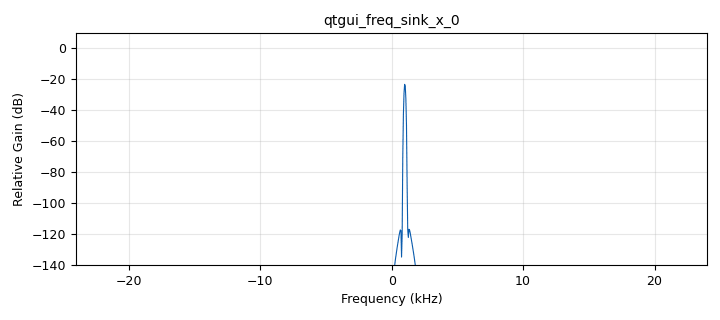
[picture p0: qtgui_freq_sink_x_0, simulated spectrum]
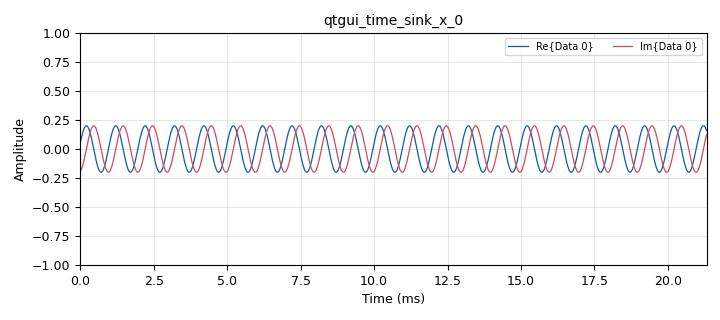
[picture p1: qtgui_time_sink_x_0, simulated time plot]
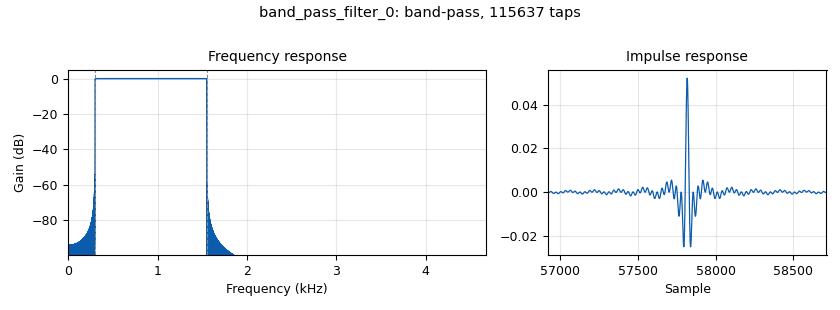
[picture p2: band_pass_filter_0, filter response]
options:
  parameters:
    author: daniel
    generate_options: qt_gui
    id: ssb_tester
    output_language: python
    title: Einseitenbandtester
  states: {}

blocks:
- name: amp
  id: variable_qtgui_range
  parameters:
    label: Amplitude
    start: '0'
    step: '0.01'
    stop: '10'
    value: '0.2'
    widget: eng_slider
  states: {}
- name: bandwidth
  id: variable_qtgui_range
  parameters:
    label: Bandbreite
    start: '0'
    step: '1'
    stop: 10e3
    value: 1.25e3
    widget: eng_slider
  states: {}
- name: out_freq
  id: variable_qtgui_range
  parameters:
    label: Ausgangsfrequenz
    start: 1e6
    step: 100e3
    stop: 500e6
    value: 433.05e6
  states: {}
- name: samp_rate
  id: variable
  parameters:
    value: 1e6
  states: {}
- name: ssb
  id: variable_qtgui_chooser
  parameters:
    label: Seitenband
    label0: USB
    label1: LSB
    num_opts: '2'
    option0: '0'
    option1: '1'
    type: int
    value: '0'
  states: {}
- name: ton_freq
  id: variable_qtgui_range
  parameters:
    label: Testton Frequenz
    start: '0'
    step: '1'
    stop: 5e3
    value: 1e3
    widget: eng_slider
  states: {}
- name: analog_sig_source_x_0
  id: analog_sig_source_x
  parameters:
    amp: amp
    freq: ton_freq
    offset: '0'
    phase: '0'
    samp_rate: 48e3
    type: complex
    waveform: analog.GR_COS_WAVE
  states: {}
- name: band_pass_filter_0
  id: band_pass_filter
  parameters:
    decim: '1'
    gain: '1'
    high_cutoff_freq: 300+bandwidth
    low_cutoff_freq: '300'
    samp_rate: 48e3
    type: fir_filter_ccf
    width: '1'
    win: window.WIN_HAMMING
  states: {}
- name: blocks_selector_0
  id: blocks_selector
  parameters:
    enabled: 'True'
    input_index: ssb
    num_inputs: '2'
    num_outputs: '1'
    output_index: '0'
    type: complex
  states: {}
- name: blocks_swapiq_0
  id: blocks_swapiq
  parameters: {}
  states: {}
- name: osmosdr_sink_0
  id: osmosdr_sink
  parameters:
    bb_gain0: '0'
    freq0: out_freq
    gain0: '0'
    if_gain0: '0'
    sample_rate: samp_rate
    sync: sync
    type: fc32
  states: {}
- name: qtgui_freq_sink_x_0
  id: qtgui_freq_sink_x
  parameters:
    bw: 48e3
    fc: '0'
    fftsize: '1024'
    type: complex
  states: {}
- name: qtgui_time_sink_x_0
  id: qtgui_time_sink_x
  parameters:
    size: '1024'
    srate: 48e3
    type: complex
  states: {}
- name: rational_resampler_xxx_0
  id: rational_resampler_xxx
  parameters:
    decim: '6'
    interp: '125'
    type: ccc
  states: {}

connections:
- [analog_sig_source_x_0, '0', band_pass_filter_0, '0']
- [band_pass_filter_0, '0', blocks_selector_0, '0']
- [band_pass_filter_0, '0', blocks_swapiq_0, '0']
- [blocks_selector_0, '0', qtgui_freq_sink_x_0, '0']
- [blocks_selector_0, '0', qtgui_time_sink_x_0, '0']
- [blocks_selector_0, '0', rational_resampler_xxx_0, '0']
- [blocks_swapiq_0, '0', blocks_selector_0, '1']
- [rational_resampler_xxx_0, '0', osmosdr_sink_0, '0']

metadata:
  file_format: 1
  grc_version: 3.10.9.2
